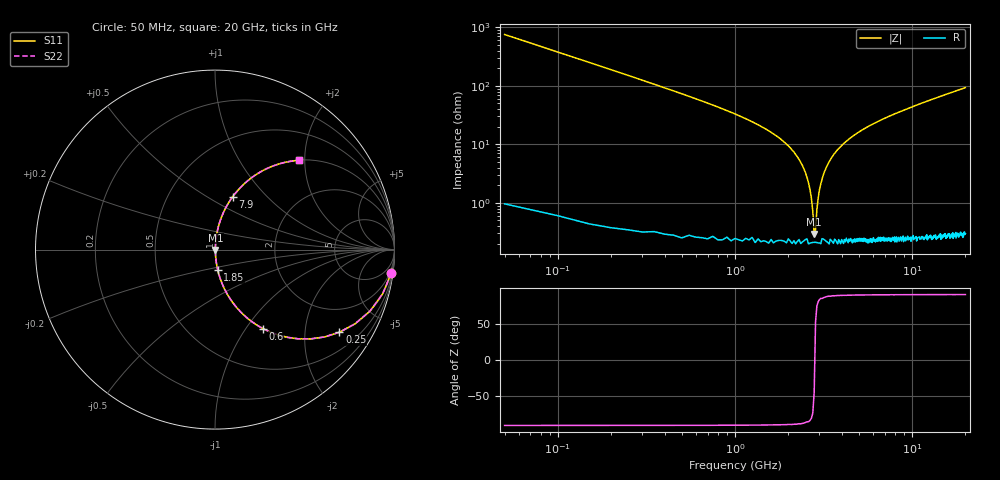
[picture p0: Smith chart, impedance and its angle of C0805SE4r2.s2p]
! AVX Thin Film Operation		Date: April 2012
! Description: Accu-P® Series, Thin Film, SMD, RF Capacitor
! Part Number: 08051J4R2ABTTR
!	50	MHz	-	20.05	GHz
!	Serial	Measurements
#	MHZ	S	MA	R	50
!	S11	S21	S12	S22
!	dB	Phase	dB	Phase	dB	Phase	dB	Phase
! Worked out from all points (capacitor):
!   400 points, 50 MHz to 20 GHz, reference 50 ohm
!   read as one part in series: C = 4.2 pF near 150 MHz
!   lowest |Z| = 294 mohm at 2.8 GHz (marker M1)
!   series resonance near 2.822 GHz, so ESL is about 760 pH
!   S11 on the Smith chart (normalised r, x): 50 MHz: 1, -15; 250 MHz: 1.01, -3.01; 600 MHz: 1.01, -1.21; 1.85 GHz: 1.00, -0.23; 7.9 GHz: 1.00, +0.66; 20 GHz: 1.01, +1.87
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50  0.991 -7.5  0.131 82.4  0.131 82.4  0.991 -7.5
150  0.929 -21.6  0.369 68.3  0.369 68.3  0.929 -21.6
250  0.832 -33.6  0.553 56.3  0.553 56.3  0.832 -33.6
600  0.515 -58.7  0.855 31.0  0.855 31.0  0.515 -58.7
1050  0.296 -72.3  0.953 17.2  0.953 17.2  0.296 -72.3
1850  0.116 -82.3  0.991 6.6  0.991 6.6  0.116 -82.3
2500  0.033 -84.2  0.997 1.9  0.997 1.9  0.033 -84.2
2700  0.012 -78.7  0.998 0.7  0.998 0.7  0.012 -78.7
2750  0.007219 -71.7  0.998 0.4  0.998 0.4  0.007219 -71.7
2800  0.003013 -42.5  0.998 0.1  0.998 0.1  0.003013 -42.5
2850  0.003497 50.5  0.998 -0.2  0.998 -0.2  0.003497 50.5
2900  0.007693 72.8  0.998 -0.4  0.998 -0.4  0.007693 72.8
3000  0.017 81.4  0.998 -0.9  0.998 -0.9  0.017 81.4
3150  0.03 84.0  0.997 -1.7  0.997 -1.7  0.03 84.0
3400  0.05 84.6  0.997 -2.9  0.997 -2.9  0.05 84.6
4500  0.129 81.6  0.989 -7.4  0.989 -7.4  0.129 81.6
6700  0.253 74.8  0.965 -14.7  0.965 -14.7  0.253 74.8
7900  0.311 71.5  0.948 -18.1  0.948 -18.1  0.311 71.5
10050  0.402 65.9  0.913 -23.7  0.913 -23.7  0.402 65.9
13350  0.518 58.6  0.853 -31.2  0.853 -31.2  0.518 58.6
16700  0.61 52.2  0.79 -37.6  0.79 -37.6  0.61 52.2
20000  0.681 46.9  0.73 -42.9  0.73 -42.9  0.681 46.9
